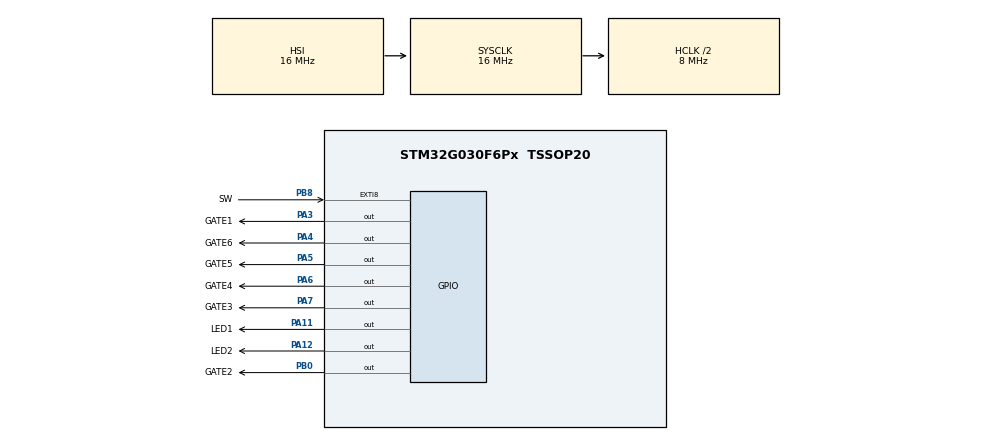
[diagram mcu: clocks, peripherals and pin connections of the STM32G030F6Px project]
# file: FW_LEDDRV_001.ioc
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Mcu.Family=STM32G0
Mcu.Name=STM32G030F6Px
Mcu.Package=TSSOP20
NVIC.EXTI4_15_IRQn=true\:0\:0\:false\:false\:true\:true\:true\:true
PA11\ [PA9].GPIO_Label=LED1
PA11\ [PA9].Signal=GPIO_Output
PA12\ [PA10].GPIO_Label=LED2
PA12\ [PA10].Signal=GPIO_Output
PA13.Mode=Serial_Wire
PA13.Signal=SYS_SWDIO
PA14-BOOT0.Mode=Serial_Wire
PA14-BOOT0.Signal=SYS_SWCLK
PA14-BOOT0__PA15.StandardMode=true
PA3.GPIO_Label=GATE1
PA3.Signal=GPIO_Output
PA4.GPIO_Label=GATE6
PA4.Signal=GPIO_Output
PA5.GPIO_Label=GATE5
PA5.Signal=GPIO_Output
PA6.GPIO_Label=GATE4
PA6.Signal=GPIO_Output
PA7.GPIO_Label=GATE3
PA7.Signal=GPIO_Output
PB0.GPIO_Label=GATE2
PB0.Signal=GPIO_Output
PB0__PB1__PB2__PA8.StandardMode=true
PB3__PB4__PB5__PB6.StandardMode=true
PB7__PB8.StandardMode=true
PB8.GPIO_Label=SW
PB8.GPIO_ModeDefaultEXTI=GPIO_MODE_IT_FALLING
PB8.GPIO_PuPd=GPIO_PULLUP
PB8.Signal=GPXTI8
PC14-OSC32_IN\ (PC14)__PB9.StandardMode=true
ProjectManager.HeapSize=0x200
ProjectManager.StackSize=0x400
ProjectManager.TargetToolchain=STM32CubeIDE
RCC.AHBCLKDivider=RCC_SYSCLK_DIV2
RCC.AHBFreq_Value=8000000
RCC.CortexFreq_Value=8000000
RCC.EXTERNAL_CLOCK_VALUE=12288000
RCC.HCLKFreq_Value=8000000
RCC.HSE_VALUE=8000000
RCC.HSI_VALUE=16000000
RCC.LSE_VALUE=32768
RCC.SYSCLKFreq_VALUE=16000000
RCC.VCOOutputFreq_Value=128000000
board=custom

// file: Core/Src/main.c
/* USER CODE BEGIN Header */
/**
  ******************************************************************************
  * @file           : main.c
  * @brief          : Main program body
  ******************************************************************************
  * @attention
  *
  * Copyright (c) 2024 STMicroelectronics.
  * All rights reserved.
  *
  * This software is licensed under terms that can be found in the LICENSE file
  * in the root directory of this software component.
  * If no LICENSE file comes with this software, it is provided AS-IS.
  *
  ******************************************************************************
  */
/* USER CODE END Header */
#include "main.h"

/* USER CODE BEGIN PV */
bool g_CurrSwStatus = 0;
SW_t sw;

/* USER CODE END PV */

void SystemClock_Config(void);
static void MX_GPIO_Init(void);

int main(void)
{

  /* MCU Configuration--------------------------------------------------------*/

  /* Reset of all peripherals, Initializes the Flash interface and the Systick. */
  HAL_Init();

  /* Configure the system clock */
  SystemClock_Config();

  /* Initialize all configured peripherals */
  MX_GPIO_Init();
  /* USER CODE BEGIN 2 */

  SW_init(&sw, true, SW_OnSwButtonPushedCbk, SW_ReadPinSW);
  /* USER CODE END 2 */

  /* Infinite loop */
  while (1)
  {

  }
}

void SystemClock_Config(void)
{
  RCC_OscInitTypeDef RCC_OscInitStruct = {0};
  RCC_ClkInitTypeDef RCC_ClkInitStruct = {0};

  /** Configure the main internal regulator output voltage
  */
  HAL_PWREx_ControlVoltageScaling(PWR_REGULATOR_VOLTAGE_SCALE1);

  /** Initializes the RCC Oscillators according to the specified parameters
  * in the RCC_OscInitTypeDef structure.
  */
  RCC_OscInitStruct.OscillatorType = RCC_OSCILLATORTYPE_HSI;
  RCC_OscInitStruct.HSIState = RCC_HSI_ON;
  RCC_OscInitStruct.HSIDiv = RCC_HSI_DIV1;
  RCC_OscInitStruct.HSICalibrationValue = RCC_HSICALIBRATION_DEFAULT;
  RCC_OscInitStruct.PLL.PLLState = RCC_PLL_NONE;
  if (HAL_RCC_OscConfig(&RCC_OscInitStruct) != HAL_OK)
  {
    Error_Handler();
  }

  /** Initializes the CPU, AHB and APB buses clocks
  */
  RCC_ClkInitStruct.ClockType = RCC_CLOCKTYPE_HCLK|RCC_CLOCKTYPE_SYSCLK
                              |RCC_CLOCKTYPE_PCLK1;
  RCC_ClkInitStruct.SYSCLKSource = RCC_SYSCLKSOURCE_HSI;
  RCC_ClkInitStruct.AHBCLKDivider = RCC_SYSCLK_DIV2;
  RCC_ClkInitStruct.APB1CLKDivider = RCC_HCLK_DIV1;

  if (HAL_RCC_ClockConfig(&RCC_ClkInitStruct, FLASH_LATENCY_0) != HAL_OK)
  {
    Error_Handler();
  }
}

static void MX_GPIO_Init(void)
{
  GPIO_InitTypeDef GPIO_InitStruct = {0};

  /* GPIO Ports Clock Enable */
  __HAL_RCC_GPIOB_CLK_ENABLE();
  __HAL_RCC_GPIOA_CLK_ENABLE();

  /*Configure GPIO pin Output Level */
  HAL_GPIO_WritePin(GPIOA, GATE1_Pin|GATE6_Pin|GATE5_Pin|GATE4_Pin
                          |GATE3_Pin|LED1_Pin|LED2_Pin, GPIO_PIN_RESET);

  /*Configure GPIO pin Output Level */
  HAL_GPIO_WritePin(GATE2_GPIO_Port, GATE2_Pin, GPIO_PIN_RESET);

  /*Configure GPIO pin : SW_Pin */
  GPIO_InitStruct.Pin = SW_Pin;
  GPIO_InitStruct.Mode = GPIO_MODE_IT_FALLING;
  GPIO_InitStruct.Pull = GPIO_PULLUP;
  HAL_GPIO_Init(SW_GPIO_Port, &GPIO_InitStruct);

  /*Configure GPIO pins : GATE1_Pin GATE6_Pin GATE5_Pin GATE4_Pin
                           GATE3_Pin LED1_Pin LED2_Pin */
  GPIO_InitStruct.Pin = GATE1_Pin|GATE6_Pin|GATE5_Pin|GATE4_Pin
                          |GATE3_Pin|LED1_Pin|LED2_Pin;
  GPIO_InitStruct.Mode = GPIO_MODE_OUTPUT_PP;
  GPIO_InitStruct.Pull = GPIO_NOPULL;
  GPIO_InitStruct.Speed = GPIO_SPEED_FREQ_LOW;
  HAL_GPIO_Init(GPIOA, &GPIO_InitStruct);

  /*Configure GPIO pin : GATE2_Pin */
  GPIO_InitStruct.Pin = GATE2_Pin;
  GPIO_InitStruct.Mode = GPIO_MODE_OUTPUT_PP;
  GPIO_InitStruct.Pull = GPIO_NOPULL;
  GPIO_InitStruct.Speed = GPIO_SPEED_FREQ_LOW;
  HAL_GPIO_Init(GATE2_GPIO_Port, &GPIO_InitStruct);

  /* EXTI interrupt init*/
  HAL_NVIC_SetPriority(EXTI4_15_IRQn, 0, 0);
  HAL_NVIC_EnableIRQ(EXTI4_15_IRQn);

}

/* USER CODE BEGIN 4 */
void LEDDRV_ChAllOn(){
	HAL_GPIO_WritePin(GPIOA, GATE1_Pin | GATE3_Pin | GATE4_Pin | GATE5_Pin | GATE6_Pin, GPIO_PIN_SET);
	HAL_GPIO_WritePin(GPIOB, GATE2_Pin, GPIO_PIN_SET);

}

void LEDDRV_ChAllOff(){
	HAL_GPIO_WritePin(GPIOA, GATE1_Pin | GATE3_Pin | GATE4_Pin | GATE5_Pin | GATE6_Pin, GPIO_PIN_RESET);
	HAL_GPIO_WritePin(GPIOB, GATE2_Pin, GPIO_PIN_RESET);
}

void SW_OnSwButtonPushedCbk(SW_t *instance){
	if(g_CurrSwStatus){
		LEDDRV_ChAllOff();
		g_CurrSwStatus = 0;
	}else{
		LEDDRV_ChAllOn();
		g_CurrSwStatus = 1;
	}
}

bool SW_ReadPinSW(){
	return HAL_GPIO_ReadPin(SW_GPIO_Port, SW_GPIO_Pin);
}
/* USER CODE END 4 */

void Error_Handler(void)
{
  __disable_irq();
  while (1)
  {
  }
}
